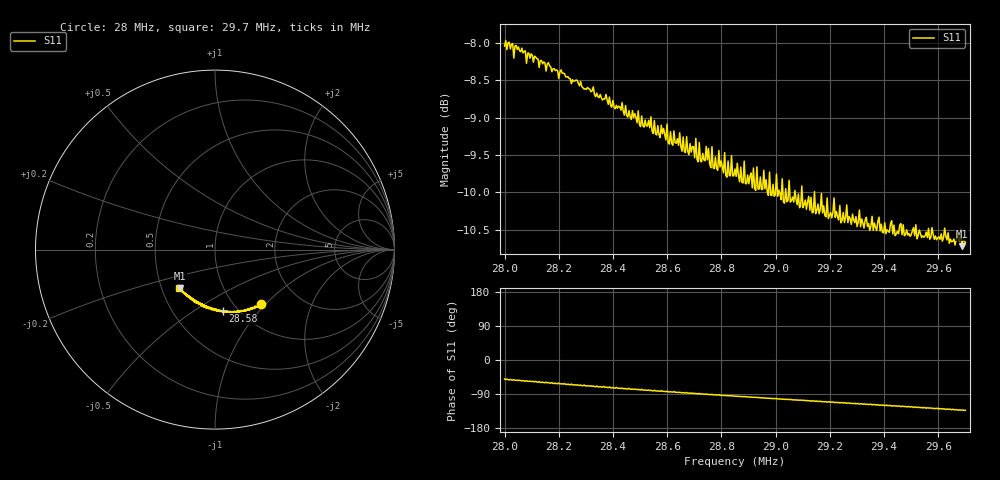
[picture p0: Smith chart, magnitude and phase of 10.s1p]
# Hz S RI R 50
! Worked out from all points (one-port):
!   401 points, 28 MHz to 29.7 MHz, reference 50 ohm
!   lowest |S11| = -10.7 dB at 29.69 MHz (marker M1), VSWR 1.82, Z = 31 - j14.6 ohm
!   |S11| at or under -10 dB: 29.07191 MHz to 29.09516 MHz (23.25 kHz wide, 0.08 % of centre); 29.09774 MHz to 29.1431 MHz (45.37 kHz wide, 0.156 % of centre); 29.14 MHz to end of sweep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
!   S11 on the Smith chart (normalised r, x): 28 MHz: 1.30, -0.94; 28.58 MHz: 0.85, -0.66; 29.7 MHz: 0.62, -0.29
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2.8e7  0.254 -0.3043
2.802125e7  0.246 -0.3086
2.8068e7  0.2296 -0.3179
2.816575e7  0.1884 -0.3352
2.8187e7  0.1852 -0.3337
2.82125e7  0.1731 -0.3384
2.823375e7  0.1683 -0.3386
2.831875e7  0.1389 -0.3423
2.835275e7  0.1241 -0.3463
2.836125e7  0.1134 -0.3465
2.8425e7  0.0965 -0.3478
2.85185e7  0.0671 -0.3471
2.858225e7  0.0428 -0.3435
2.8612e7  0.0383 -0.3452
2.86375e7  0.0284 -0.3423
2.865875e7  0.0245 -0.3436
2.8697e7  0.0136 -0.339
2.8731e7  0.00178 -0.3358
2.87565e7  -0.00728 -0.3304
2.877775e7  -0.0112 -0.3338
2.879475e7  -0.0171 -0.3284
2.88245e7  -0.0248 -0.331
2.885e7  -0.0307 -0.3264
2.90625e7  -0.0828 -0.3028
2.9275e7  -0.1267 -0.2759
2.94875e7  -0.162 -0.2477
2.968725e7  -0.1957 -0.2154
2.97e7  -0.1985 -0.2149
